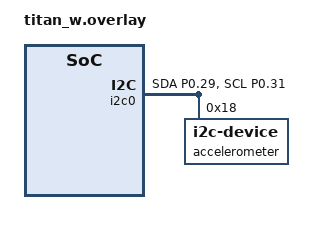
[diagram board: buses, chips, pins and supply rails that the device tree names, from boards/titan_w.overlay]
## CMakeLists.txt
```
# SPDX-License-Identifier: Apache-2.0

cmake_minimum_required(VERSION 3.20.0)
find_package(Zephyr REQUIRED HINTS $ENV{ZEPHYR_BASE})
project(peripheral)

target_sources(app PRIVATE
  src/main.c
  src/uart.c
  src/led.c
  src/accelerometer.c
)
```

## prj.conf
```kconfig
# Increased stack due to settings API usage
CONFIG_SYSTEM_WORKQUEUE_STACK_SIZE=2048

CONFIG_BT=y
CONFIG_LOG=y
CONFIG_BT_SMP=y
CONFIG_BT_SIGNING=y
CONFIG_BT_PERIPHERAL=y
CONFIG_BT_DIS=y
CONFIG_BT_ATT_PREPARE_COUNT=5
CONFIG_BT_PRIVACY=n
CONFIG_BT_DEVICE_NAME="NVDIIA Titan W GPU over BLE"
CONFIG_BT_DEVICE_APPEARANCE=1344
CONFIG_BT_DEVICE_NAME_DYNAMIC=y
CONFIG_BT_DEVICE_NAME_MAX=65
CONFIG_BT_CTLR_PRIVACY=n

CONFIG_BT_KEYS_OVERWRITE_OLDEST=y
CONFIG_BT_SETTINGS=y
CONFIG_FLASH=y
CONFIG_FLASH_PAGE_LAYOUT=y
CONFIG_FLASH_MAP=y
CONFIG_NVS=y
CONFIG_SETTINGS=y

CONFIG_USB_DEVICE_STACK=y
CONFIG_USB_DEVICE_PRODUCT="NVDIIA TITAN W GPU over USB"
CONFIG_USB_DEVICE_PID=0x0004
CONFIG_USB_DEVICE_INITIALIZE_AT_BOOT=n

CONFIG_SERIAL=y
CONFIG_CONSOLE=y
CONFIG_UART_CONSOLE=y
CONFIG_UART_LINE_CTRL=y

CONFIG_I2C=y
```

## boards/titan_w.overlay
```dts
&i2c0 {
    compatible = "nordic,nrf-twi";
    status = "okay";
    pinctrl-0 = <&i2c0_custom>;
    pinctrl-names = "default","sleep";
    
    accelerometer: accelerometer@18{
       compatible = "i2c-device";
       reg = < 0x18 >;
       label = "accelerometer";
    };
    
};
&pinctrl {
    i2c0_custom: i2c0_custom {
		group1 {
			psels = <NRF_PSEL(TWIM_SDA, 0, 29)>,
				<NRF_PSEL(TWIM_SCL, 0, 31)>;
		};
	};
};
```

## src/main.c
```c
#include <zephyr/bluetooth/gatt.h>
#include <zephyr/settings/settings.h>

#include "uart.h"
#include "led.h"
#include "accelerometer.h"

// Bluetooth Service UUID
#define TITAN_W_SERVICE_VAL \
	BT_UUID_128_ENCODE(0xE0E62F49, 0x9E34, 0x462C, 0x8240, 0x720C01FC5374)

// Acceleration Characteristic UUID
#define TITAN_W_ACCELEROMETER_CHAR_VAL \
	BT_UUID_128_ENCODE(0xDC77CEBA, 0xDEE1, 0x4467, 0x9814, 0xE2EA1DA1098A)

static struct bt_uuid_128 titan_uuid = BT_UUID_INIT_128(TITAN_W_SERVICE_VAL);

static struct bt_uuid_128 acc_char_uuid = BT_UUID_INIT_128(TITAN_W_ACCELEROMETER_CHAR_VAL);

// Acceleration value buffer
static uint8_t acc_value[6] = {0,0,0,0,0,0};

static ssize_t read_acc(struct bt_conn *conn, const struct bt_gatt_attr *attr,
			void *buf, uint16_t len, uint16_t offset)
{
	const char *value = attr->user_data;
	return bt_gatt_attr_read(conn, attr, buf, len, offset, value, 6);
}

static ssize_t deny_write(struct bt_conn *conn, const struct bt_gatt_attr *attr,
			    const void *buf, uint16_t len, uint16_t offset,
			    uint8_t flags)
{
	return 0;
}

BT_GATT_SERVICE_DEFINE(titan_svc,
	BT_GATT_PRIMARY_SERVICE(&titan_uuid),
	BT_GATT_CHARACTERISTIC(&acc_char_uuid.uuid,
			       BT_GATT_CHRC_READ |
			       BT_GATT_CHRC_NOTIFY,
			       BT_GATT_PERM_READ,
			       read_acc, deny_write, acc_value),
	BT_GATT_CCC(NULL,
		    BT_GATT_PERM_READ | BT_GATT_PERM_WRITE_ENCRYPT)
);

static const struct bt_data ad[] = {
	BT_DATA_BYTES(BT_DATA_FLAGS, (BT_LE_AD_GENERAL | BT_LE_AD_NO_BREDR)),
	BT_DATA_BYTES(BT_DATA_UUID128_ALL, TITAN_W_SERVICE_VAL),
};

static void connected(struct bt_conn *conn, uint8_t err)
{
	char addr[BT_ADDR_LE_STR_LEN];
	bt_addr_le_to_str(bt_conn_get_dst(conn), addr, sizeof(addr));
	if (err) {
		printk("(MAC: %s) Connection failed (err 0x%02x)\n", addr, err);
	} else {
		printk("(MAC: %s) Connected\n", addr);
	}
}

static void disconnected(struct bt_conn *conn, uint8_t reason)
{
	char addr[BT_ADDR_LE_STR_LEN];
	bt_addr_le_to_str(bt_conn_get_dst(conn), addr, sizeof(addr));
	printk("Disconnected (MAC: %s,reason 0x%02x)\n", addr, reason);
}

BT_CONN_CB_DEFINE(conn_callbacks) = {
	.connected = connected,
	.disconnected = disconnected,
};

static void bt_ready(void)
{
	int err;
	printk("Bluetooth initialized\n");
	if (IS_ENABLED(CONFIG_SETTINGS)) {
		settings_load();
	}
	err = bt_le_adv_start(BT_LE_ADV_CONN_NAME, ad, ARRAY_SIZE(ad), NULL, 0);
	if (err) {
		printk("Advertising failed to start (err %d)\n", err);
		return;
	}
	printk("Advertising successfully started\n");
}

int main(void)
{
	uart_init();
	accelerometer_init();
	led_init();
	led_update(Blink);
	int err;

	err = bt_enable(NULL);
	if (err) {
		printk("Bluetooth init failed (err %d)\n", err);
		return 0;
	}
	bt_set_name("NVDIIA Titan W GPU over BLE");
	bt_unpair(BT_ID_DEFAULT, BT_ADDR_LE_ANY);
	bt_ready();

	while (1) {
		k_sleep(K_MSEC(100));
		accelerometer_read(acc_value);
		int ret = bt_gatt_notify(NULL, &titan_svc.attrs[1], &acc_value, sizeof(acc_value));
		if(ret == -ENOTCONN)
			led_update(Off);
		else
			led_update(Blink);
	}
	return 0;
}
```

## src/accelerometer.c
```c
#include "accelerometer.h"

#define I2C0_NODE DT_NODELABEL(accelerometer)

static const struct i2c_dt_spec dev_i2c = I2C_DT_SPEC_GET(I2C0_NODE);

void accelerometer_init(){
    if (!device_is_ready(dev_i2c.bus)) {
        printk("[ERROR] I2C bus %s is not ready!\n",dev_i2c.bus->name);
        return;
    }
    uint8_t buf;
    // Read WHOAMI register to make sure it's the right device
    i2c_burst_read_dt(&dev_i2c, LIS3DH_REG_WHO_AM_I, &buf, 1);
    if (buf != LIS3DH_WHOAMI_CONSTANT){
        printk("[ERROR] Device at 0x18 is not LIS3DH accelerometer. Value at LIS3DH_REG_WHO_AM_I(0x0F) is %x!\n", buf);
        return;
    }
    // Set data rate to 10Hz, and enable xyz-axis acceleration measurement
    buf = LIS3DH_DATA_RATE_10HZ | LIS3DH_ENABLE_XYZ_AXIS;
    i2c_burst_write_dt(&dev_i2c, LIS3DH_REG_CTRL1, &buf, 1);
    // Set the Block Data Update flag, and High Resolution flag
    buf = LIS3DH_BDU | LIS3DH_HI_RES;
    i2c_burst_write_dt(&dev_i2c, LIS3DH_REG_CTRL4, &buf, 1);
}

void accelerometer_read(uint8_t *data){
    // Read 6 bytes starting from OUT_X_L register
    int ret = i2c_burst_read_dt(&dev_i2c, LIS3DH_REG_OUT_X_L | LIS3DH_ADDR_INCREMENT, data, 6);
    if(ret != 0){
        printk("[ERROR] Failed to read from I2C device address %x!\n", dev_i2c.addr);
    }
}
```

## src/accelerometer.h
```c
#ifndef ACCELEROMETER_H
#define ACCELEROMETER_H

#include <zephyr/types.h>
#include <zephyr/drivers/i2c.h>

// Initialize the accelerometer
void accelerometer_init();

// Read current acceleration data (6 bytes, XL|XH|YL|YH|ZL|ZH) into the given buffer
void accelerometer_read(uint8_t *data);

#define LIS3DH_WHOAMI_CONSTANT   0b00110011

#define LIS3DH_REBOOT            0b10000000
#define LIS3DH_ENABLE_XYZ_AXIS   0b00000111
#define LIS3DH_DATA_RATE_10HZ    0b00100000
#define LIS3DH_DATA_RATE_100HZ   0b01010000
#define LIS3DH_BDU               0b10000000
#define LIS3DH_HI_RES            0b00001000
#define LIS3DH_ADDR_INCREMENT    0b10000000

#define LIS3DH_REG_WHO_AM_I      0x0f
#define LIS3DH_REG_TEMP_CFG      0x1f
#define LIS3DH_REG_CTRL1         0x20
#define LIS3DH_REG_CTRL2         0x21
#define LIS3DH_REG_CTRL3         0x22
#define LIS3DH_REG_CTRL4         0x23
#define LIS3DH_REG_CTRL5         0x24
#define LIS3DH_REG_CTRL6         0x25
#define LIS3DH_REG_OUT_X_L       0x28
#define LIS3DH_REG_OUT_X_H       0x29
#define LIS3DH_REG_OUT_Y_L       0x2a
#define LIS3DH_REG_OUT_Y_H       0x2b
#define LIS3DH_REG_OUT_Z_L       0x2c
#define LIS3DH_REG_OUT_Z_H       0x2d

#endif
```

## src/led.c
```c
#include "led.h"

bool led_initialized = false;
LEDState led_current_state = Off;

void led_init(){
	if (!gpio_is_ready_dt(&led)) {
        printk("[ERROR] LED is not ready!\n");
		return;
	}
	if (gpio_pin_configure_dt(&led, GPIO_OUTPUT_ACTIVE) < 0) {
        printk("[ERROR] Cannot configure LED!\n");
		return;
	}
    led_initialized = true;
    printk("[INFO] LED Initialized.\n");
}

void led_work_loop(){
    while(1){
        if(!led_initialized){
            k_sleep(K_MSEC(500));
            continue;
        }
        if(led_current_state == On){
            gpio_pin_set_dt(&led, 1);
        }else if(led_current_state == Off){
            gpio_pin_set_dt(&led, 0);
        }else{
            gpio_pin_toggle_dt(&led);
        }
        k_sleep(K_MSEC(500));
    }
}

void led_update(LEDState new){
    led_current_state = new;
}

// Start LED work loop thread
K_THREAD_DEFINE(led_work, 1024, led_work_loop, NULL, NULL, NULL, 2, 0, 0);
```

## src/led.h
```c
#ifndef LED_H
#define LED_H

#include <zephyr/kernel.h>
#include <zephyr/drivers/gpio.h>

static const struct gpio_dt_spec led = GPIO_DT_SPEC_GET(DT_ALIAS(led1_green), gpios);

typedef enum LEDState {
    On,
    Blink,
    Off
} LEDState;

// Initialize LED GPIOs
void led_init();

// Update LED State
void led_update(LEDState new);

#endif
```

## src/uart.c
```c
#include "uart.h"

void uart_init(){
    const struct device *const dev = DEVICE_DT_GET(DT_CHOSEN(zephyr_console));
	uint32_t dtr = 0;
	int maxtries = 5;
	if (usb_enable(NULL)) {
		return;
	}
	while (!dtr && maxtries) {
		uart_line_ctrl_get(dev, UART_LINE_CTRL_DTR, &dtr);
		k_sleep(K_MSEC(100));
		// Wait host at most 500ms
		maxtries--;
	}
}
```

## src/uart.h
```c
#ifndef UART_H
#define UART_H

#include <zephyr/kernel.h>
#include <zephyr/usb/usb_device.h>
#include <zephyr/drivers/uart.h>

// Initialize UART for logging
void uart_init();

#endif
```
